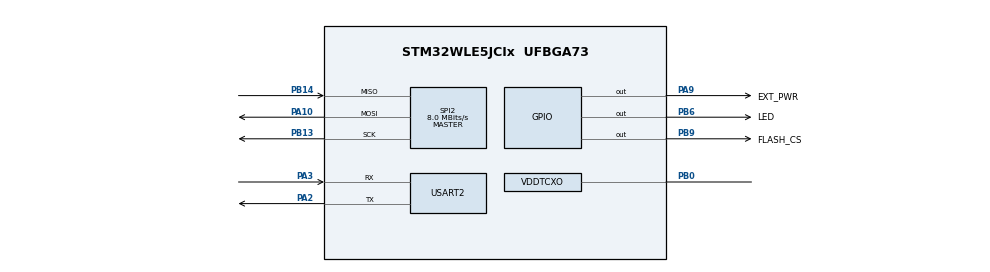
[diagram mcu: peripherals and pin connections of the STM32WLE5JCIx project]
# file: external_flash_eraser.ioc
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Mcu.Family=STM32WL
Mcu.Name=STM32WLE5JCIx
Mcu.Package=UFBGA73
NVIC.PriorityGroup=NVIC_PRIORITYGROUP_4
NVIC.USART2_IRQn=true\:0\:0\:false\:false\:true\:true\:true\:true
OSC_IN.Mode=HSE-TCXO
OSC_IN.Signal=RCC_OSC_IN
PA10.GPIO_PuPd=GPIO_PULLUP
PA10.Mode=Full_Duplex_Master
PA10.Signal=SPI2_MOSI
PA13.Mode=Serial_Wire
PA13.Signal=DEBUG_JTMS-SWDIO
PA14.Mode=Serial_Wire
PA14.Signal=DEBUG_JTCK-SWCLK
PA2.Mode=Asynchronous
PA2.Signal=USART2_TX
PA3.Mode=Asynchronous
PA3.Signal=USART2_RX
PA9.GPIO_Label=EXT_PWR
PA9.Signal=GPIO_Output
PB0-VDD_TCXO.Mode=HSE-TCXO
PB0-VDD_TCXO.Signal=VDDTCXO
PB13.GPIO_PuPd=GPIO_PULLUP
PB13.Mode=Full_Duplex_Master
PB13.Signal=SPI2_SCK
PB14.GPIO_PuPd=GPIO_PULLUP
PB14.Mode=Full_Duplex_Master
PB14.Signal=SPI2_MISO
PB6.GPIO_Label=LED
PB6.Signal=GPIO_Output
PB9.GPIO_Label=FLASH_CS
PB9.Signal=GPIO_Output
PC14-OSC32_IN.Mode=LSE-External-Oscillator
PC14-OSC32_IN.Signal=RCC_OSC32_IN
PC15-OSC32_OUT.Mode=LSE-External-Oscillator
PC15-OSC32_OUT.Signal=RCC_OSC32_OUT
ProjectManager.HeapSize=0x200
ProjectManager.StackSize=0x400
ProjectManager.TargetToolchain=STM32CubeIDE
RCC.AHBFreq_Value=48000000
RCC.APB1Freq_Value=48000000
RCC.APB1TimFreq_Value=48000000
RCC.APB2Freq_Value=48000000
RCC.APB2TimFreq_Value=48000000
RCC.APB3Freq_Value=48000000
RCC.CortexFreq_Value=48000000
RCC.HCLKFreq_Value=48000000
RCC.HSE_VALUE=8000000
RCC.HSI_VALUE=16000000
RCC.LSE_VALUE=32768
RCC.MSIClockRange=RCC_MSIRANGE_11
RCC.SYSCLKFreq_VALUE=48000000
RCC.VCOOutputFreq_Value=384000000
RTC.Alarm-Alarm\ A=RTC_ALARM_A
SPI2.CalculateBaudRate=8.0 MBits/s
SPI2.DataSize=SPI_DATASIZE_8BIT
SPI2.Direction=SPI_DIRECTION_2LINES
SPI2.Mode=SPI_MODE_MASTER
SPI2.NSSPMode=SPI_NSS_PULSE_DISABLE
SPI2.VirtualType=VM_MASTER
USART2.VirtualMode-Asynchronous=VM_ASYNC
VP_RTC_VS_RTC_Activate.Mode=RTC_Enabled
VP_RTC_VS_RTC_Alarm_A_Intern.Mode=Alarm A
VP_RTC_VS_RTC_Calendar.Mode=RTC_Calendar
board=custom

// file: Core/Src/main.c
/* USER CODE BEGIN Header */
/**
 ******************************************************************************
 * @file           : main.c
 * @brief          : Main program body
 ******************************************************************************
 * @attention
 *
 * Copyright (c) 2023 STMicroelectronics.
 * All rights reserved.
 *
 * This software is licensed under terms that can be found in the LICENSE file
 * in the root directory of this software component.
 * If no LICENSE file comes with this software, it is provided AS-IS.
 *
 ******************************************************************************
 */
/* USER CODE END Header */
#include "main.h"

/* USER CODE BEGIN Includes */
#include <string.h>
#include "ExtFlash.h"
#include "error.h"

/* USER CODE END Includes */

RTC_HandleTypeDef hrtc;

SPI_HandleTypeDef hspi2;

UART_HandleTypeDef huart2;

void SystemClock_Config(void);
static void MX_GPIO_Init(void);
static void MX_USART2_UART_Init(void);
static void MX_RTC_Init(void);
static void MX_SPI2_Init(void);
/* USER CODE BEGIN PFP */
int __io_putchar(int ch);
/* USER CODE END PFP */

/* USER CODE BEGIN 0 */

int __io_putchar(int ch) {
	uint8_t c;

	c = (uint8_t) ch;

	if (HAL_UART_Transmit(&huart2, &c, 1, 100) == HAL_OK)
		return ch;
	else
		return -1;
	return -1;
}

/* USER CODE END 0 */

int main(void) {

	/* MCU Configuration--------------------------------------------------------*/

	/* Reset of all peripherals, Initializes the Flash interface and the Systick. */
	HAL_Init();

	/* Configure the system clock */
	SystemClock_Config();

	/* Initialize all configured peripherals */
	MX_GPIO_Init();
	MX_USART2_UART_Init();
	MX_RTC_Init();
	MX_SPI2_Init();
	/* USER CODE BEGIN 2 */

	fprintf(stderr, "\r\n");
	fprintf(stderr, "******************************\r\n");
	fprintf(stderr, "**** External Flash eraser ***\r\n");
	fprintf(stderr, "******************************\r\n");
#if defined(ERASE_ENTIRE_FLASH)
	fprintf(stderr, "- MODE : Erase entire flash\r\n");
#else
	fprintf(stderr, "- MODE : Erase Slot1\r\n");
#endif
	fprintf(stderr, "\r\n");

	//Debug message
	fprintf(stderr, "Initializing external flash low level driver...\r\n");

	//Init low level external flash driver
	Flash__Init();

#if defined(ERASE_ENTIRE_FLASH)

	fprintf(stderr, "Erasing entire external flash memory...\r\n");

	//Erase entire external flash memory
	Flash__ChipErase();
#else

	//Debug message
	fprintf(stderr, "Erasing external flash memory slot 1...\r\n");

	//Erase first external flash slot [0x00000000 - 0x00040000]
	Flash__BlockErase64k(0x00000000);
	Flash__BlockErase64k(0x00010000);
	Flash__BlockErase64k(0x00020000);
	Flash__BlockErase64k(0x00030000);
#endif

	//Debug message
	fprintf(stderr, "Done.\r\n");

	/* USER CODE END 2 */

	/* Infinite loop */
	while (1) {

	}
}

void SystemClock_Config(void) {
	RCC_OscInitTypeDef RCC_OscInitStruct = { 0 };
	RCC_ClkInitTypeDef RCC_ClkInitStruct = { 0 };

	/** Configure LSE Drive Capability
	 */
	HAL_PWR_EnableBkUpAccess();
	__HAL_RCC_LSEDRIVE_CONFIG(RCC_LSEDRIVE_LOW);

	/** Configure the main internal regulator output voltage
	 */
	__HAL_PWR_VOLTAGESCALING_CONFIG(PWR_REGULATOR_VOLTAGE_SCALE1);

	/** Initializes the CPU, AHB and APB buses clocks
	 */
	RCC_OscInitStruct.OscillatorType = RCC_OSCILLATORTYPE_HSI
			| RCC_OSCILLATORTYPE_LSI | RCC_OSCILLATORTYPE_LSE
			| RCC_OSCILLATORTYPE_MSI;
	RCC_OscInitStruct.LSEState = RCC_LSE_ON;
	RCC_OscInitStruct.HSIState = RCC_HSI_ON;
	RCC_OscInitStruct.MSIState = RCC_MSI_ON;
	RCC_OscInitStruct.HSICalibrationValue = RCC_HSICALIBRATION_DEFAULT;
	RCC_OscInitStruct.MSICalibrationValue = RCC_MSICALIBRATION_DEFAULT;
	RCC_OscInitStruct.MSIClockRange = RCC_MSIRANGE_11;
	RCC_OscInitStruct.LSIDiv = RCC_LSI_DIV1;
	RCC_OscInitStruct.LSIState = RCC_LSI_ON;
	RCC_OscInitStruct.PLL.PLLState = RCC_PLL_NONE;
	if (HAL_RCC_OscConfig(&RCC_OscInitStruct) != HAL_OK) {
		Error_Handler();
	}

	/** Configure the SYSCLKSource, HCLK, PCLK1 and PCLK2 clocks dividers
	 */
	RCC_ClkInitStruct.ClockType = RCC_CLOCKTYPE_HCLK3 | RCC_CLOCKTYPE_HCLK
			| RCC_CLOCKTYPE_SYSCLK | RCC_CLOCKTYPE_PCLK1 | RCC_CLOCKTYPE_PCLK2;
	RCC_ClkInitStruct.SYSCLKSource = RCC_SYSCLKSOURCE_MSI;
	RCC_ClkInitStruct.AHBCLKDivider = RCC_SYSCLK_DIV1;
	RCC_ClkInitStruct.APB1CLKDivider = RCC_HCLK_DIV1;
	RCC_ClkInitStruct.APB2CLKDivider = RCC_HCLK_DIV1;
	RCC_ClkInitStruct.AHBCLK3Divider = RCC_SYSCLK_DIV1;

	if (HAL_RCC_ClockConfig(&RCC_ClkInitStruct, FLASH_LATENCY_2) != HAL_OK) {
		Error_Handler();
	}
}

static void MX_RTC_Init(void) {

	RTC_TimeTypeDef sTime = { 0 };
	RTC_DateTypeDef sDate = { 0 };
	RTC_AlarmTypeDef sAlarm = { 0 };

	/** Initialize RTC Only
	 */
	hrtc.Instance = RTC;
	hrtc.Init.HourFormat = RTC_HOURFORMAT_24;
	hrtc.Init.AsynchPrediv = 127;
	hrtc.Init.SynchPrediv = 255;
	hrtc.Init.OutPut = RTC_OUTPUT_DISABLE;
	hrtc.Init.OutPutRemap = RTC_OUTPUT_REMAP_NONE;
	hrtc.Init.OutPutPolarity = RTC_OUTPUT_POLARITY_HIGH;
	hrtc.Init.OutPutType = RTC_OUTPUT_TYPE_OPENDRAIN;
	hrtc.Init.OutPutPullUp = RTC_OUTPUT_PULLUP_NONE;
	hrtc.Init.BinMode = RTC_BINARY_NONE;
	if (HAL_RTC_Init(&hrtc) != HAL_OK) {
		Error_Handler();
	}

	/** Initialize RTC and set the Time and Date
	 */
	sTime.Hours = 0x0;
	sTime.Minutes = 0x0;
	sTime.Seconds = 0x0;
	sTime.DayLightSaving = RTC_DAYLIGHTSAVING_NONE;
	sTime.StoreOperation = RTC_STOREOPERATION_RESET;
	if (HAL_RTC_SetTime(&hrtc, &sTime, RTC_FORMAT_BCD) != HAL_OK) {
		Error_Handler();
	}
	sDate.WeekDay = RTC_WEEKDAY_MONDAY;
	sDate.Month = RTC_MONTH_JANUARY;
	sDate.Date = 0x1;
	sDate.Year = 0x0;

	if (HAL_RTC_SetDate(&hrtc, &sDate, RTC_FORMAT_BCD) != HAL_OK) {
		Error_Handler();
	}

	/** Enable the Alarm A
	 */
	sAlarm.AlarmTime.Hours = 0x0;
	sAlarm.AlarmTime.Minutes = 0x0;
	sAlarm.AlarmTime.Seconds = 0x0;
	sAlarm.AlarmTime.SubSeconds = 0x0;
	sAlarm.AlarmTime.DayLightSaving = RTC_DAYLIGHTSAVING_NONE;
	sAlarm.AlarmTime.StoreOperation = RTC_STOREOPERATION_RESET;
	sAlarm.AlarmMask = RTC_ALARMMASK_NONE;
	sAlarm.AlarmSubSecondMask = RTC_ALARMSUBSECONDMASK_ALL;
	sAlarm.AlarmDateWeekDaySel = RTC_ALARMDATEWEEKDAYSEL_DATE;
	sAlarm.AlarmDateWeekDay = 0x1;
	sAlarm.Alarm = RTC_ALARM_A;
	if (HAL_RTC_SetAlarm(&hrtc, &sAlarm, RTC_FORMAT_BCD) != HAL_OK) {
		Error_Handler();
	}

}

static void MX_SPI2_Init(void) {

	/* SPI2 parameter configuration*/
	hspi2.Instance = SPI2;
	hspi2.Init.Mode = SPI_MODE_MASTER;
	hspi2.Init.Direction = SPI_DIRECTION_2LINES;
	hspi2.Init.DataSize = SPI_DATASIZE_8BIT;
	hspi2.Init.CLKPolarity = SPI_POLARITY_LOW;
	hspi2.Init.CLKPhase = SPI_PHASE_1EDGE;
	hspi2.Init.NSS = SPI_NSS_SOFT;
	hspi2.Init.BaudRatePrescaler = SPI_BAUDRATEPRESCALER_2;
	hspi2.Init.FirstBit = SPI_FIRSTBIT_MSB;
	hspi2.Init.TIMode = SPI_TIMODE_DISABLE;
	hspi2.Init.CRCCalculation = SPI_CRCCALCULATION_DISABLE;
	hspi2.Init.CRCPolynomial = 7;
	hspi2.Init.CRCLength = SPI_CRC_LENGTH_DATASIZE;
	hspi2.Init.NSSPMode = SPI_NSS_PULSE_DISABLE;
	if (HAL_SPI_Init(&hspi2) != HAL_OK) {
		Error_Handler();
	}

}

static void MX_USART2_UART_Init(void) {

	huart2.Instance = USART2;
	huart2.Init.BaudRate = 115200;
	huart2.Init.WordLength = UART_WORDLENGTH_8B;
	huart2.Init.StopBits = UART_STOPBITS_1;
	huart2.Init.Parity = UART_PARITY_NONE;
	huart2.Init.Mode = UART_MODE_TX_RX;
	huart2.Init.HwFlowCtl = UART_HWCONTROL_NONE;
	huart2.Init.OverSampling = UART_OVERSAMPLING_16;
	huart2.Init.OneBitSampling = UART_ONE_BIT_SAMPLE_DISABLE;
	huart2.Init.ClockPrescaler = UART_PRESCALER_DIV1;
	huart2.AdvancedInit.AdvFeatureInit = UART_ADVFEATURE_NO_INIT;
	if (HAL_UART_Init(&huart2) != HAL_OK) {
		Error_Handler();
	}
	if (HAL_UARTEx_SetTxFifoThreshold(&huart2, UART_TXFIFO_THRESHOLD_1_8)
			!= HAL_OK) {
		Error_Handler();
	}
	if (HAL_UARTEx_SetRxFifoThreshold(&huart2, UART_RXFIFO_THRESHOLD_1_8)
			!= HAL_OK) {
		Error_Handler();
	}
	if (HAL_UARTEx_DisableFifoMode(&huart2) != HAL_OK) {
		Error_Handler();
	}

}

static void MX_GPIO_Init(void) {
	GPIO_InitTypeDef GPIO_InitStruct = { 0 };

	/* GPIO Ports Clock Enable */
	__HAL_RCC_GPIOA_CLK_ENABLE();
	__HAL_RCC_GPIOC_CLK_ENABLE();
	__HAL_RCC_GPIOB_CLK_ENABLE();

	/*Configure GPIO pin Output Level */
	HAL_GPIO_WritePin(GPIOB, FLASH_CS_Pin | LED_Pin, GPIO_PIN_RESET);

	/*Configure GPIO pin Output Level */
	HAL_GPIO_WritePin(EXT_PWR_GPIO_Port, EXT_PWR_Pin, GPIO_PIN_RESET);

	/*Configure GPIO pins : FLASH_CS_Pin LED_Pin */
	GPIO_InitStruct.Pin = FLASH_CS_Pin | LED_Pin;
	GPIO_InitStruct.Mode = GPIO_MODE_OUTPUT_PP;
	GPIO_InitStruct.Pull = GPIO_NOPULL;
	GPIO_InitStruct.Speed = GPIO_SPEED_FREQ_LOW;
	HAL_GPIO_Init(GPIOB, &GPIO_InitStruct);

	/*Configure GPIO pin : EXT_PWR_Pin */
	GPIO_InitStruct.Pin = EXT_PWR_Pin;
	GPIO_InitStruct.Mode = GPIO_MODE_OUTPUT_PP;
	GPIO_InitStruct.Pull = GPIO_NOPULL;
	GPIO_InitStruct.Speed = GPIO_SPEED_FREQ_LOW;
	HAL_GPIO_Init(EXT_PWR_GPIO_Port, &GPIO_InitStruct);

}

/* USER CODE BEGIN 4 */
void rTosDelay(uint32_t Delay) {

}

UART_HandleTypeDef* Get_DebugHandle(void) {
	return &huart2;
}

RTC_HandleTypeDef* Get_RtcHandle(void) {
	return &hrtc;
}

SPI_HandleTypeDef* Get_SpiHandle(void) {
	return &hspi2;
}

/* USER CODE END 4 */

void Error_Handler(void) {
	__disable_irq();
	while (1) {
	}
}
